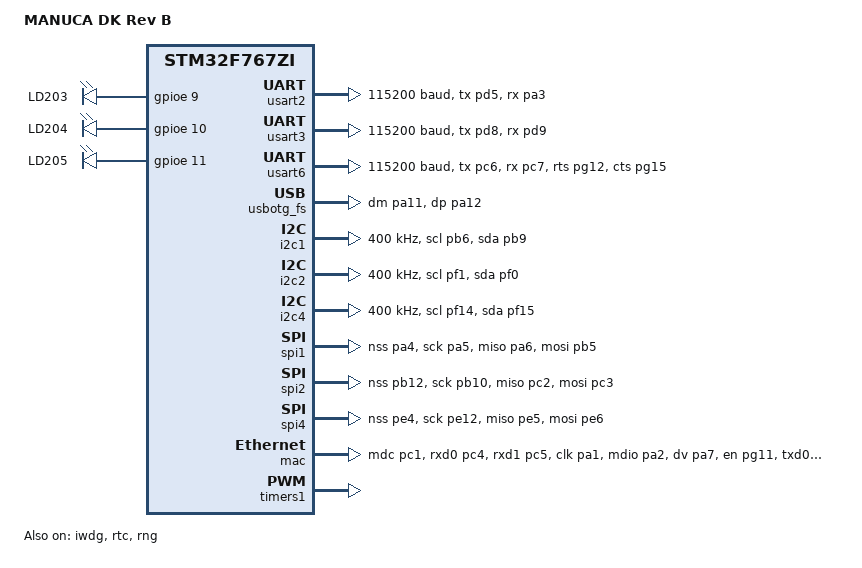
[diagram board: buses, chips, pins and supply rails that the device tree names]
/*
 * Copyright (c) 2021 Lee Tze Han
 *
 * SPDX-License-Identifier: Apache-2.0
 */

/dts-v1/;
#include <st/f7/stm32f767Xi.dtsi>
#include <st/f7/stm32f767zitx-pinctrl.dtsi>

/ {
	model = "MANUCA DK Rev B";
	compatible = "st,stm32f767zi-nucleo";

	chosen {
		// UART device for console (from stm32f7.dtsi)
		zephyr,console = &usart3;
		// UART device for SHELL UART backend (from stm32f7.dtsi)
		zephyr,shell-uart = &usart3;
		// SRAM base addr. and size (from stm32f767.dtsi)
		zephyr,sram = &sram0;
		// Flash base addr. and size (from stm32f767Xi.dtsi)
		zephyr,flash = &flash0;
		// Flash partition to link .text to
		zephyr,code-partition = &slot0_partition;
		// DTCM node (from stm32f767.dtsi)
		zephyr,dtcm = &dtcm;
	};

	/*
	 *	Software LEDS
	 *
	 *	LD203: PE9
	 *	LD204: PE10
	 *	LD205: PE11
	 */
	leds {
		compatible = "gpio-leds";
		ld203: led_0 {
			gpios = <&gpioe 9 GPIO_ACTIVE_HIGH>;
			label = "LD203";
		};
		ld204: led_1 {
			gpios = <&gpioe 10 GPIO_ACTIVE_HIGH>;
			label = "LD204";
		};
		ld205: led_2 {
			gpios = <&gpioe 11 GPIO_ACTIVE_HIGH>;
			label = "LD205";
		};
	};

	aliases {
		led0 = &ld203;
		led1 = &ld204;
		led2 = &ld205;
	};
};

/*
 *	USART2 (RS485 Connector CN302)
 *
 *	TX: PD5
 * 	RX: PA3
 *	No flow control
 */
&usart2 {
	pinctrl-0 = <&usart2_tx_pd5 &usart2_rx_pa3>;
	current-speed = <115200>;
	status = "okay";
};

/*
 *	Serial Port Debugging UART3 (TTL-232R Connector CN301)
 *
 *	TX: PD8
 * 	RX: PD9
 *	No flow control
 */
&usart3 {
	pinctrl-0 = <&usart3_tx_pd8 &usart3_rx_pd9>;
	current-speed = <115200>;
	status = "okay";
};

/*
 *	XBEE WiFi USART6 (Connector CN501, CN502)
 *
 *	TX:  PC6
 * 	RX:  PC7
 *	RTS: PG12
 *	CTS: PG15
 */
&usart6 {
	pinctrl-0 = <&usart6_tx_pc6 &usart6_rx_pc7 &usart6_rts_pg12 &usart6_cts_pg15>;
	current-speed = <115200>;
	status = "okay";
};

/*
 *	USB OTG (Connector CN202)
 *
 *	DM: PA11
 *	DP: PA12
 */
&usbotg_fs {
	pinctrl-0 = <&usb_otg_fs_dm_pa11 &usb_otg_fs_dp_pa12>;
	status = "okay";
};

/*
 *	On-board sensors I2C1 (Connector CN309)
 *
 *	SCL: PB6
 *	SDA: PB9
 */
&i2c1 {
	pinctrl-0 = <&i2c1_scl_pb6 &i2c1_sda_pb9>;
	status = "okay";
	clock-frequency = <I2C_BITRATE_FAST>;
};

/*
 *	I2C2 (Connector CN310)
 *
 *	SCL: PF1/PH1
 *	SDA: PF0/PH0
 */
 &i2c2 {
	pinctrl-0 = <&i2c2_scl_pf1 &i2c2_sda_pf0>;
	status = "okay";
	clock-frequency = <I2C_BITRATE_FAST>;
};

/*
 *	I2C4 (Connector CN311)
 *
 *	SCL: PF14
 *	SDA: PF15
 */
 &i2c4 {
	pinctrl-0 = <&i2c4_scl_pf14 &i2c4_sda_pf15>;
	status = "okay";
	clock-frequency = <I2C_BITRATE_FAST>;
};

/*
 *	SPI1 (Connector CN306)
 *
 *	CS:   PA4
 *	SCK:  PA5
 *	MISO: PA6
 *	MOSI: PB5
 */
&spi1 {
	pinctrl-0 = <&spi1_nss_pa4 &spi1_sck_pa5 &spi1_miso_pa6 &spi1_mosi_pb5>;
	status = "okay";
};

/*
 *	SPI2 (Connector CN307)
 *
 *	CS:   PB12
 *	SCK:  PB10
 *	MISO: PC2
 *	MOSI: PC3
 */
 &spi2 {
	pinctrl-0 = <&spi2_nss_pb12 &spi2_sck_pb10 &spi2_miso_pc2 &spi2_mosi_pc3>;
	status = "okay";
};

/*
*	SPI4 (Connector CN308)
*
*	CS:   PE4
*	SCK:  PE12
*	MISO: PE5
*	MOSI: PE6
*/
&spi4 {
	pinctrl-0 = <&spi4_nss_pe4 &spi4_sck_pe12 &spi4_miso_pe5 &spi4_mosi_pe6>;
	status = "okay";
};

/*
 *	Ethernet (Connector CN201)
 *
 *	MDC:	 PC1
 *	RXD0:	 PC4
 *  RXD1:	 PC5
 *	REF_CLK: PA1
 *	MDIO:	 PA2
 *	CRS_DV:  PA7
 *	TX_EN:	 PG11
 *	TXD0:	 PG13
 *	TXD1:	 PB13
 */
&mac {
	status = "okay";
	pinctrl-0 = <
		&eth_mdc_pc1
		&eth_rxd0_pc4
		&eth_rxd1_pc5
		&eth_ref_clk_pa1
		&eth_mdio_pa2
		&eth_crs_dv_pa7
		&eth_tx_en_pg11
		&eth_txd0_pg13
		&eth_txd1_pb13
	>;
};

&timers1 {
	status = "okay";
	
	pwm1: pwm {
		status = "okay";
		pinctrl-0 = <&tim1_ch3_pe13>;
	};
};

// &adc1 {
// 	pinctrl-0 = <&adc1_in1_pg2>;
// 	status = "okay";

// 	adc1_in1_pg2: adc1_in1_pg2 {
// 		pinmux = <STM32_PINMUX('G', 2, ANALOG)>;
// 	};
// };

&iwdg {
	status = "okay";
};

&rtc {
	status = "okay";
};

&rng {
	status = "okay";
};

&flash0 {
	partitions {
		compatible = "fixed-partitions";
		#address-cells = <1>;
		#size-cells = <1>;

		/*
		 * The two sectors 0-1 (32+32 kbytes) are reserved for
		 * the bootloader.
		 */
		boot_partition: partition@0 {
			label = "mcuboot";
			reg = <0x0 0x00010000>;
			read-only;
		};

		/*
		 * The flash starting at offset 0x10000 and ending at
		 * offset 0x1ffff is reserved for use by the application.
		 * This represents sectors 2-3 (32+32 kbytes)
		 */
		storage_partition: partition@10000 {
			label = "storage";
			reg = <0x00010000 0x00010000>;
		};

		/*
		 * Sector 4 (128 kbytes) unallocated.
		 */

		/*
		 * Allocated 3 (256k x 3) sectors for image-0. Sectors 5-7.
		 */
		slot0_partition: partition@40000 {
			label = "image-0";
			reg = <0x00040000 0x000C0000>;
		};

		/*
		 * Allocated 3 (256k x 3) sectors for image-1. Sectors 8-10.
		 */
		slot1_partition: partition@100000 {
			label = "image-1";
			reg = <0x00100000 0x000C0000>;
		};

		/*
		 * Allocated 1 (256k) sector for image-scratch. Sector 11.
		 */
		scratch_partition: partition@1C0000 {
			label = "image-scratch";
			reg = <0x001C0000 0x00040000>;
		};
	};
};
